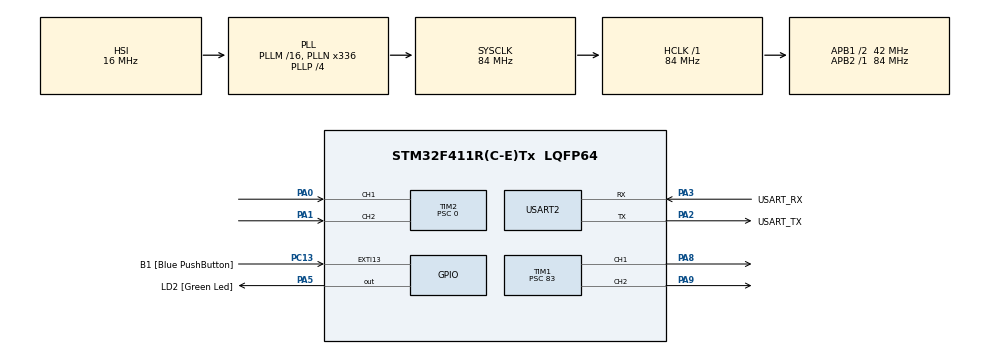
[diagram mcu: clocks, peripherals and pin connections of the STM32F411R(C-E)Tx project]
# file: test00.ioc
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Mcu.Family=STM32F4
Mcu.Name=STM32F411R(C-E)Tx
Mcu.Package=LQFP64
NVIC.PriorityGroup=NVIC_PRIORITYGROUP_0
PA0-WKUP.Signal=S_TIM2_CH1_ETR
PA1.Signal=S_TIM2_CH2
PA13.GPIO_Label=TMS
PA13.Mode=Serial_Wire
PA13.Signal=SYS_JTMS-SWDIO
PA14.GPIO_Label=TCK
PA14.Mode=Serial_Wire
PA14.Signal=SYS_JTCK-SWCLK
PA2.GPIO_Label=USART_TX
PA2.Mode=Asynchronous
PA2.Signal=USART2_TX
PA3.GPIO_Label=USART_RX
PA3.Mode=Asynchronous
PA3.Signal=USART2_RX
PA5.GPIO_Label=LD2 [Green Led]
PA5.Signal=GPIO_Output
PA8.Signal=S_TIM1_CH1
PA9.Signal=S_TIM1_CH2
PB3.GPIO_Label=SWO
PB3.Signal=SYS_JTDO-SWO
PC13-ANTI_TAMP.GPIO_Label=B1 [Blue PushButton]
PC13-ANTI_TAMP.GPIO_ModeDefaultEXTI=GPIO_MODE_IT_FALLING
PC13-ANTI_TAMP.Signal=GPXTI13
PC14-OSC32_IN.Mode=LSE-External-Oscillator
PC14-OSC32_IN.Signal=RCC_OSC32_IN
PC15-OSC32_OUT.Mode=LSE-External-Oscillator
PC15-OSC32_OUT.Signal=RCC_OSC32_OUT
PH0\ -\ OSC_IN.Mode=HSE-External-Clock-Source
PH0\ -\ OSC_IN.Signal=RCC_OSC_IN
PH1\ -\ OSC_OUT.Mode=HSE-External-Clock-Source
PH1\ -\ OSC_OUT.Signal=RCC_OSC_OUT
ProjectManager.HeapSize=0x200
ProjectManager.StackSize=0x400
ProjectManager.TargetToolchain=STM32CubeIDE
RCC.48MHZClocksFreq_Value=84000000
RCC.AHBFreq_Value=84000000
RCC.APB1CLKDivider=RCC_HCLK_DIV2
RCC.APB1Freq_Value=42000000
RCC.APB1TimFreq_Value=84000000
RCC.APB2Freq_Value=84000000
RCC.APB2TimFreq_Value=84000000
RCC.CortexFreq_Value=84000000
RCC.FLatency-AdvancedSettings=FLASH_LATENCY_2
RCC.HCLKFreq_Value=84000000
RCC.HSE_VALUE=8000000
RCC.HSI_VALUE=16000000
RCC.PLLN=336
RCC.PLLP=RCC_PLLP_DIV4
RCC.SYSCLKFreq_VALUE=84000000
RCC.SYSCLKSource=RCC_SYSCLKSOURCE_PLLCLK
RCC.VCOOutputFreq_Value=336000000
SH.S_TIM1_CH1.0=TIM1_CH1,PWM Generation1 CH1
SH.S_TIM1_CH2.0=TIM1_CH2,PWM Generation2 CH2
SH.S_TIM2_CH1_ETR.0=TIM2_CH1,Encoder_Interface
SH.S_TIM2_CH2.0=TIM2_CH2,Encoder_Interface
TIM1.Channel-PWM\ Generation1\ CH1=TIM_CHANNEL_1
TIM1.Channel-PWM\ Generation2\ CH2=TIM_CHANNEL_2
TIM1.Period=999
TIM1.Prescaler=83
TIM1.Pulse-PWM\ Generation1\ CH1=500
TIM1.Pulse-PWM\ Generation2\ CH2=500
TIM2.EncoderMode=TIM_ENCODERMODE_TI12
TIM2.Period=307200
TIM2.Prescaler=0
USART2.VirtualMode=VM_ASYNC
board=NUCLEO-F411RE

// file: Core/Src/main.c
/* USER CODE BEGIN Header */
/**
  ******************************************************************************
  * @file           : main.c
  * @brief          : Main program body
  ******************************************************************************
  * @attention
  *
  * Copyright (c) 2023 STMicroelectronics.
  * All rights reserved.
  *
  * This software is licensed under terms that can be found in the LICENSE file
  * in the root directory of this software component.
  * If no LICENSE file comes with this software, it is provided AS-IS.
  *
  ******************************************************************************
  */
/* USER CODE END Header */
#include "main.h"

TIM_HandleTypeDef htim1;
TIM_HandleTypeDef htim2;

UART_HandleTypeDef huart2;

/* USER CODE BEGIN PV */

uint32_t QEIRead;
uint32_t AngularPositon;
uint32_t SetPoint = 360;
int32_t error;
uint32_t sumerror = 0;
uint32_t differror;
uint16_t dutyCycle;
int32_t u;
int flag = 0;
float Kp = 0;
float Ki = 0;
float Kd = 0;
/* USER CODE END PV */

void SystemClock_Config(void);
static void MX_GPIO_Init(void);
static void MX_USART2_UART_Init(void);
static void MX_TIM1_Init(void);
static void MX_TIM2_Init(void);
/* USER CODE BEGIN PFP */
void MotorForward(uint32_t duty);
void MotorBackward(uint32_t duty);
void MotorStop();
/* USER CODE END PFP */

int main(void)
{

  /* MCU Configuration--------------------------------------------------------*/

  /* Reset of all peripherals, Initializes the Flash interface and the Systick. */
  HAL_Init();

  /* Configure the system clock */
  SystemClock_Config();

  /* Initialize all configured peripherals */
  MX_GPIO_Init();
  MX_USART2_UART_Init();
  MX_TIM1_Init();
  MX_TIM2_Init();
  /* USER CODE BEGIN 2 */
  HAL_TIM_Base_Start(&htim1);
  HAL_TIM_PWM_Start(&htim1, TIM_CHANNEL_1);
  HAL_TIM_PWM_Start(&htim1, TIM_CHANNEL_2);

  HAL_TIM_Encoder_Start(&htim2, TIM_CHANNEL_1|TIM_CHANNEL_2);
  /* USER CODE END 2 */

  /* Infinite loop */
  while (1)
  {

    /* USER CODE BEGIN 3 */
	  static uint32_t timestramp = 0;
	  if(HAL_GetTick() >= timestramp )
	  {
		  timestramp = HAL_GetTick() + 10;
		  QEIRead  = __HAL_TIM_GET_COUNTER(&htim2);
		  AngularPositon = QEIRead * 360/3072;
		  error = SetPoint - AngularPositon;

		  u = Kp * error + Ki * sumerror + Kd * differror;
		  sumerror += error*0.1;

		  dutyCycle = abs(u) + 100;
		  if (error >= 0)
		  {
			  flag = 1;
			  if(abs(dutyCycle) > 1000)
			  {
				  dutyCycle = 1000;
			  }
			  MotorForward(abs(dutyCycle));
		  }
		  else if (error <  0)
		  {
			  flag = -1;
			  if(abs(dutyCycle) > 1000)
			  {
				  dutyCycle = 1000;
			  }
			  MotorBackward(abs(dutyCycle));
		  }

	  }
  }
  /* USER CODE END 3 */
}

void SystemClock_Config(void)
{
  RCC_OscInitTypeDef RCC_OscInitStruct = {0};
  RCC_ClkInitTypeDef RCC_ClkInitStruct = {0};

  /** Configure the main internal regulator output voltage
  */
  __HAL_RCC_PWR_CLK_ENABLE();
  __HAL_PWR_VOLTAGESCALING_CONFIG(PWR_REGULATOR_VOLTAGE_SCALE1);

  /** Initializes the RCC Oscillators according to the specified parameters
  * in the RCC_OscInitTypeDef structure.
  */
  RCC_OscInitStruct.OscillatorType = RCC_OSCILLATORTYPE_HSI;
  RCC_OscInitStruct.HSIState = RCC_HSI_ON;
  RCC_OscInitStruct.HSICalibrationValue = RCC_HSICALIBRATION_DEFAULT;
  RCC_OscInitStruct.PLL.PLLState = RCC_PLL_ON;
  RCC_OscInitStruct.PLL.PLLSource = RCC_PLLSOURCE_HSI;
  RCC_OscInitStruct.PLL.PLLM = 16;
  RCC_OscInitStruct.PLL.PLLN = 336;
  RCC_OscInitStruct.PLL.PLLP = RCC_PLLP_DIV4;
  RCC_OscInitStruct.PLL.PLLQ = 4;
  if (HAL_RCC_OscConfig(&RCC_OscInitStruct) != HAL_OK)
  {
    Error_Handler();
  }

  /** Initializes the CPU, AHB and APB buses clocks
  */
  RCC_ClkInitStruct.ClockType = RCC_CLOCKTYPE_HCLK|RCC_CLOCKTYPE_SYSCLK
                              |RCC_CLOCKTYPE_PCLK1|RCC_CLOCKTYPE_PCLK2;
  RCC_ClkInitStruct.SYSCLKSource = RCC_SYSCLKSOURCE_PLLCLK;
  RCC_ClkInitStruct.AHBCLKDivider = RCC_SYSCLK_DIV1;
  RCC_ClkInitStruct.APB1CLKDivider = RCC_HCLK_DIV2;
  RCC_ClkInitStruct.APB2CLKDivider = RCC_HCLK_DIV1;

  if (HAL_RCC_ClockConfig(&RCC_ClkInitStruct, FLASH_LATENCY_2) != HAL_OK)
  {
    Error_Handler();
  }
}

static void MX_TIM1_Init(void)
{

  TIM_MasterConfigTypeDef sMasterConfig = {0};
  TIM_OC_InitTypeDef sConfigOC = {0};
  TIM_BreakDeadTimeConfigTypeDef sBreakDeadTimeConfig = {0};

  htim1.Instance = TIM1;
  htim1.Init.Prescaler = 83;
  htim1.Init.CounterMode = TIM_COUNTERMODE_UP;
  htim1.Init.Period = 999;
  htim1.Init.ClockDivision = TIM_CLOCKDIVISION_DIV1;
  htim1.Init.RepetitionCounter = 0;
  htim1.Init.AutoReloadPreload = TIM_AUTORELOAD_PRELOAD_DISABLE;
  if (HAL_TIM_PWM_Init(&htim1) != HAL_OK)
  {
    Error_Handler();
  }
  sMasterConfig.MasterOutputTrigger = TIM_TRGO_RESET;
  sMasterConfig.MasterSlaveMode = TIM_MASTERSLAVEMODE_DISABLE;
  if (HAL_TIMEx_MasterConfigSynchronization(&htim1, &sMasterConfig) != HAL_OK)
  {
    Error_Handler();
  }
  sConfigOC.OCMode = TIM_OCMODE_PWM1;
  sConfigOC.Pulse = 500;
  sConfigOC.OCPolarity = TIM_OCPOLARITY_HIGH;
  sConfigOC.OCNPolarity = TIM_OCNPOLARITY_HIGH;
  sConfigOC.OCFastMode = TIM_OCFAST_DISABLE;
  sConfigOC.OCIdleState = TIM_OCIDLESTATE_RESET;
  sConfigOC.OCNIdleState = TIM_OCNIDLESTATE_RESET;
  if (HAL_TIM_PWM_ConfigChannel(&htim1, &sConfigOC, TIM_CHANNEL_1) != HAL_OK)
  {
    Error_Handler();
  }
  if (HAL_TIM_PWM_ConfigChannel(&htim1, &sConfigOC, TIM_CHANNEL_2) != HAL_OK)
  {
    Error_Handler();
  }
  sBreakDeadTimeConfig.OffStateRunMode = TIM_OSSR_DISABLE;
  sBreakDeadTimeConfig.OffStateIDLEMode = TIM_OSSI_DISABLE;
  sBreakDeadTimeConfig.LockLevel = TIM_LOCKLEVEL_OFF;
  sBreakDeadTimeConfig.DeadTime = 0;
  sBreakDeadTimeConfig.BreakState = TIM_BREAK_DISABLE;
  sBreakDeadTimeConfig.BreakPolarity = TIM_BREAKPOLARITY_HIGH;
  sBreakDeadTimeConfig.AutomaticOutput = TIM_AUTOMATICOUTPUT_DISABLE;
  if (HAL_TIMEx_ConfigBreakDeadTime(&htim1, &sBreakDeadTimeConfig) != HAL_OK)
  {
    Error_Handler();
  }
  HAL_TIM_MspPostInit(&htim1);

}

static void MX_TIM2_Init(void)
{

  TIM_Encoder_InitTypeDef sConfig = {0};
  TIM_MasterConfigTypeDef sMasterConfig = {0};

  htim2.Instance = TIM2;
  htim2.Init.Prescaler = 0;
  htim2.Init.CounterMode = TIM_COUNTERMODE_UP;
  htim2.Init.Period = 307200;
  htim2.Init.ClockDivision = TIM_CLOCKDIVISION_DIV1;
  htim2.Init.AutoReloadPreload = TIM_AUTORELOAD_PRELOAD_DISABLE;
  sConfig.EncoderMode = TIM_ENCODERMODE_TI12;
  sConfig.IC1Polarity = TIM_ICPOLARITY_RISING;
  sConfig.IC1Selection = TIM_ICSELECTION_DIRECTTI;
  sConfig.IC1Prescaler = TIM_ICPSC_DIV1;
  sConfig.IC1Filter = 0;
  sConfig.IC2Polarity = TIM_ICPOLARITY_RISING;
  sConfig.IC2Selection = TIM_ICSELECTION_DIRECTTI;
  sConfig.IC2Prescaler = TIM_ICPSC_DIV1;
  sConfig.IC2Filter = 0;
  if (HAL_TIM_Encoder_Init(&htim2, &sConfig) != HAL_OK)
  {
    Error_Handler();
  }
  sMasterConfig.MasterOutputTrigger = TIM_TRGO_RESET;
  sMasterConfig.MasterSlaveMode = TIM_MASTERSLAVEMODE_DISABLE;
  if (HAL_TIMEx_MasterConfigSynchronization(&htim2, &sMasterConfig) != HAL_OK)
  {
    Error_Handler();
  }

}

static void MX_USART2_UART_Init(void)
{

  huart2.Instance = USART2;
  huart2.Init.BaudRate = 115200;
  huart2.Init.WordLength = UART_WORDLENGTH_8B;
  huart2.Init.StopBits = UART_STOPBITS_1;
  huart2.Init.Parity = UART_PARITY_NONE;
  huart2.Init.Mode = UART_MODE_TX_RX;
  huart2.Init.HwFlowCtl = UART_HWCONTROL_NONE;
  huart2.Init.OverSampling = UART_OVERSAMPLING_16;
  if (HAL_UART_Init(&huart2) != HAL_OK)
  {
    Error_Handler();
  }

}

static void MX_GPIO_Init(void)
{
  GPIO_InitTypeDef GPIO_InitStruct = {0};

  /* GPIO Ports Clock Enable */
  __HAL_RCC_GPIOC_CLK_ENABLE();
  __HAL_RCC_GPIOH_CLK_ENABLE();
  __HAL_RCC_GPIOA_CLK_ENABLE();
  __HAL_RCC_GPIOB_CLK_ENABLE();

  /*Configure GPIO pin Output Level */
  HAL_GPIO_WritePin(LD2_GPIO_Port, LD2_Pin, GPIO_PIN_RESET);

  /*Configure GPIO pin : B1_Pin */
  GPIO_InitStruct.Pin = B1_Pin;
  GPIO_InitStruct.Mode = GPIO_MODE_IT_FALLING;
  GPIO_InitStruct.Pull = GPIO_NOPULL;
  HAL_GPIO_Init(B1_GPIO_Port, &GPIO_InitStruct);

  /*Configure GPIO pin : LD2_Pin */
  GPIO_InitStruct.Pin = LD2_Pin;
  GPIO_InitStruct.Mode = GPIO_MODE_OUTPUT_PP;
  GPIO_InitStruct.Pull = GPIO_NOPULL;
  GPIO_InitStruct.Speed = GPIO_SPEED_FREQ_LOW;
  HAL_GPIO_Init(LD2_GPIO_Port, &GPIO_InitStruct);

}

/* USER CODE BEGIN 4 */
void MotorForward(uint32_t duty)
{
	__HAL_TIM_SET_COMPARE(&htim1, TIM_CHANNEL_1, duty);
	__HAL_TIM_SET_COMPARE(&htim1, TIM_CHANNEL_2, 0);
}

void MotorBackward(uint32_t duty)
{
	__HAL_TIM_SET_COMPARE(&htim1, TIM_CHANNEL_1, 0);
	__HAL_TIM_SET_COMPARE(&htim1, TIM_CHANNEL_2, duty);
}

void MotorStop()
{
	__HAL_TIM_SET_COMPARE(&htim1, TIM_CHANNEL_1, 0);
	__HAL_TIM_SET_COMPARE(&htim1, TIM_CHANNEL_2, 0);
}
/* USER CODE END 4 */

void Error_Handler(void)
{
  __disable_irq();
  while (1)
  {
  }
}
